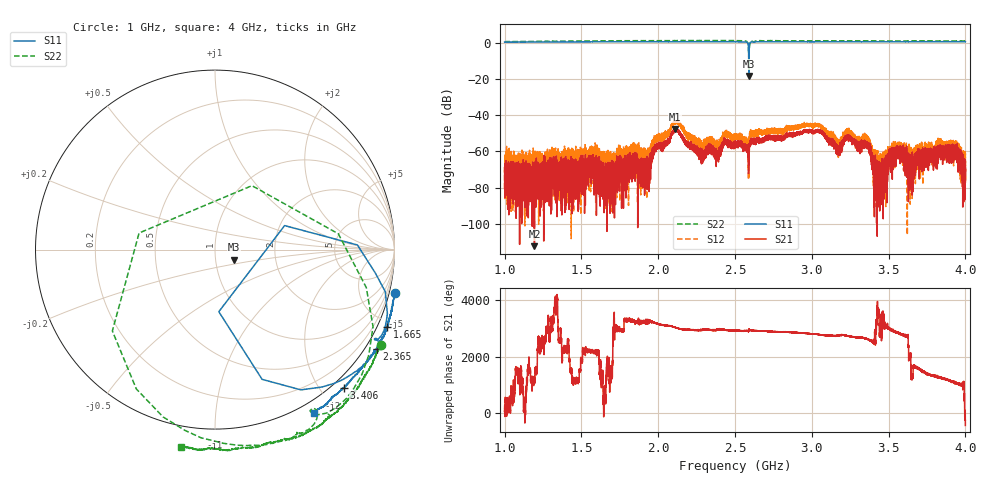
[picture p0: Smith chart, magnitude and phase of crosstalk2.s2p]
!Agilent Technologies,N5230C,SG49000117,A.08.50.07
!Agilent N5230C: A.08.50.07
!Date: Monday, May 20, 2024 21:41:42
!Correction: S11(Full 2 Port(1,2))
!S21(Full 2 Port(1,2))
!S12(Full 2 Port(1,2))
!S22(Full 2 Port(1,2))
!S2P File: Measurements: S11, S21, S12, S22:
# Hz S  MA  R 50
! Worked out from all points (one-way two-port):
!   20001 points, 1 GHz to 4 GHz, reference 50 ohm
!   highest |S21| = -47.57 dB at 2.111 GHz (marker M1); lowest = -112.2 dB at 1.194 GHz (marker M2)
!   lowest |S11| = -18.3 dB at 2.59 GHz (marker M3), VSWR 1.28, Z = 61.6 - j6.96 ohm
!   |S11| at or under -10 dB: 2.58934 GHz to 2.590896 GHz (1.556 MHz wide, 0.0601 % of centre)
!   |S22| runs from -9.4 to 1.2 dB; largest |S21 - S12| = 0.004
!   S11 on the Smith chart (normalised r, x): 1 GHz: -1.03, -8.33; 1.665 GHz: -0.58, -4.60; 2.365 GHz: -0.38, -3.49; 3.406 GHz: -0.16, -2.29; 4 GHz: -0.13, -1.77
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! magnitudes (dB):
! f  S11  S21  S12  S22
! 1 GHz  0.3  -70.7  -68.6  0.5
! 1.194 GHz  0.3  -112.2  -63.4  0.7
! 1.5 GHz  0.4  -64.8  -64.0  0.9
! 1.665 GHz  0.4  -69.9  -89.4  1.0
! 1.841 GHz  0.5  -67.5  -56.1  1.0
! 1.93 GHz  0.5  -72.9  -62.1  1.1
! 2 GHz  0.5  -56.3  -52.5  1.0
! 2.111 GHz  0.4  -47.6  -44.9  1.1
! 2.365 GHz  0.5  -59.9  -57.3  1.1
! 2.5 GHz  0.5  -55.8  -52.5  1.1
! 2.59 GHz  -18.3  -62.4  -64.4  -9.4
! 3 GHz  0.4  -49.0  -45.9  1.0
! 3.172 GHz  0.4  -59.9  -58.0  1.0
! 3.231 GHz  0.4  -52.7  -49.5  0.9
! 3.356 GHz  0.4  -56.1  -54.0  1.0
! 3.406 GHz  0.5  -70.0  -69.3  1.0
! 3.46 GHz  0.4  -72.9  -78.5  0.9
! 3.5 GHz  0.4  -66.7  -58.5  0.9
! 3.58 GHz  0.4  -58.7  -56.8  0.9
! 3.645 GHz  0.5  -73.9  -58.7  1.0
! 3.935 GHz  0.5  -61.1  -54.3  0.9
! 4 GHz  0.5  -75.7  -77.3  1.0
